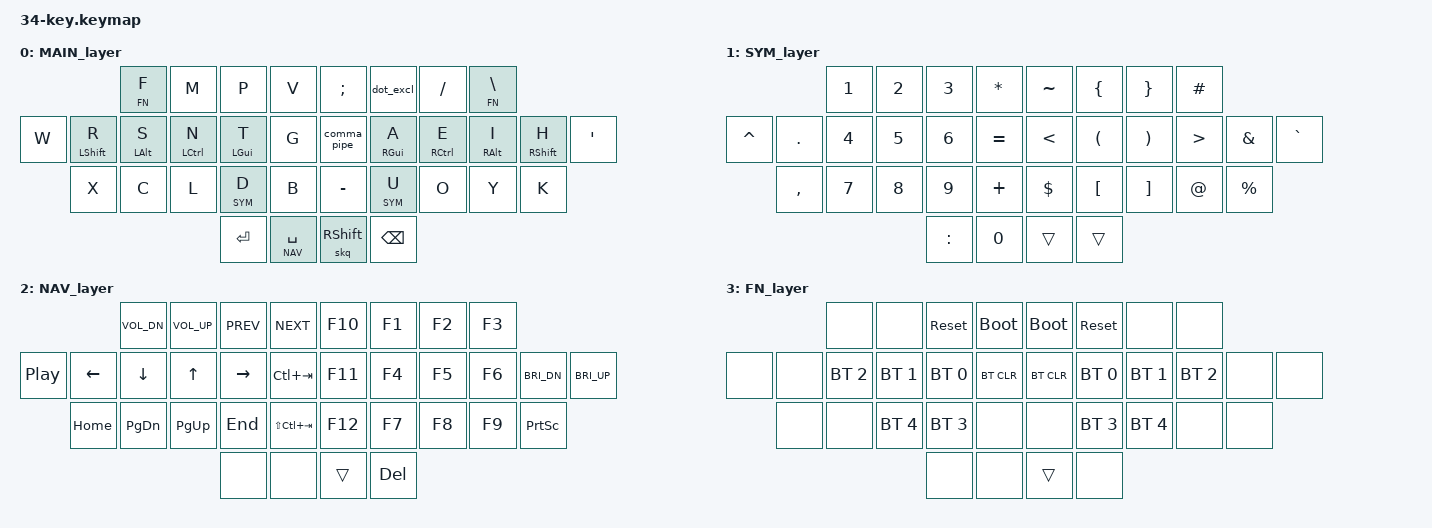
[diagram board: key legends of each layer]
#include <behaviors.dtsi>
#include <dt-bindings/zmk/keys.h>
#include <dt-bindings/zmk/bt.h>

#define MAIN 0
#define SYM 1
#define NAV 2
#define FN 3

// Keep these in sync with QMK's TAPPING_TERM and QUICK_TAP_TERM.
#define HT_TERM 200
#define HT_QUICK 150

// Balanced holds keep layer and mod chords fast; T=GUI is tap-preferred to
// prevent a fast T->H roll in "th"/"the" from holding Shift+GUI.
&mt {
    flavor = "balanced";
    tapping-term-ms = <HT_TERM>;
    quick-tap-ms = <HT_QUICK>;
};
&lt {
    flavor = "balanced";
    tapping-term-ms = <HT_TERM>;
    quick-tap-ms = <HT_QUICK>;
};

/ {
    behaviors {
        // T=GUI taps on a fast T->H roll in "th"/"the"; other mods stay balanced.
        t_gui: tap_gui {
            compatible = "zmk,behavior-hold-tap";
            label = "TAP_GUI";
            #binding-cells = <2>;
            flavor = "tap-preferred";
            tapping-term-ms = <HT_TERM>;
            quick-tap-ms = <HT_QUICK>;
            bindings = <&kp>, <&kp>;
        };

        dot_excl: dot_excl {
            compatible = "zmk,behavior-mod-morph";
            label = "DOT_EXCL";
            #binding-cells = <0>;
            bindings = <&kp DOT>, <&kp EXCL>;
            mods = <(MOD_LSFT|MOD_RSFT)>;
        };

        comma_pipe: comma_pipe {
            compatible = "zmk,behavior-mod-morph";
            label = "COMMA_PIPE";
            #binding-cells = <0>;
            bindings = <&kp COMMA>, <&kp PIPE>;
            mods = <(MOD_LSFT|MOD_RSFT)>;
        };

        skq: sticky_key_quick_release {
            compatible = "zmk,behavior-sticky-key";
            label = "STICKY_KEY_QUICK_RELEASE";
            #binding-cells = <1>;
            bindings = <&kp>;
            release-after-ms = <750>;
            quick-release;
        };
    };

    combos {
        compatible = "zmk,combos";

        combo_esc {
            timeout-ms = <15>;
            key-positions = <21 22>;
            bindings = <&kp ESC>;
            layers = <0>;
        };

        combo_tab {
            timeout-ms = <15>;
            key-positions = <22 23>;
            bindings = <&kp TAB>;
            layers = <0>;
        };

        combo_q {
            timeout-ms = <20>;
            key-positions = <1 2>;
            bindings = <&kp Q>;
            layers = <0>;
        };

        combo_z {
            timeout-ms = <20>;
            key-positions = <0 1>;
            bindings = <&kp Z>;
            layers = <0>;
        };

        combo_j {
            timeout-ms = <20>;
            key-positions = <1 3>;
            bindings = <&kp J>;
            layers = <0>;
        };

        combo_caps {
            timeout-ms = <20>;
            key-positions = <6 7>;
            bindings = <&kp CAPS>;
            layers = <0>;
        };
    };

    keymap {
        compatible = "zmk,keymap";

        MAIN_layer {
            bindings = <
                              &lt FN F   &kp M       &kp P      &kp V            &kp SEMI    &dot_excl  &kp FSLH    &lt FN BSLH
            &kp W &mt LSHFT R &mt LALT S &mt LCTRL N &t_gui LGUI T &kp G      &comma_pipe &mt RGUI A &mt RCTRL E &mt RALT I  &mt RSHFT H &kp SQT
                  &kp X       &kp C      &kp L       &lt SYM D  &kp B            &kp MINUS   &lt SYM U  &kp O       &kp Y       &kp K
                                                     &kp ENTER  &lt NAV SPC      &skq RSHFT  &kp BSPC
            >;
        };

        SYM_layer {
            bindings = <
                                &kp N1 &kp N2 &kp N3    &kp STAR       &kp TILDE &kp LBRC  &kp RBRC &kp HASH
            &kp CARET &kp DOT   &kp N4 &kp N5 &kp N6    &kp EQUAL      &kp LT    &kp LPAR  &kp RPAR &kp GT   &kp AMPS  &kp GRAVE
                      &kp COMMA &kp N7 &kp N8 &kp N9    &kp PLUS       &kp DLLR  &kp LBKT  &kp RBKT &kp AT   &kp PRCNT
                                              &kp COLON &kp N0         &trans    &trans
            >;
        };

        NAV_layer {
            bindings = <
                              &kp C_VOL_DN &kp C_VOL_UP &kp C_PREV &kp C_NEXT           &kp F10 &kp F1  &kp F2 &kp F3
            &kp C_PP &kp LEFT &kp DOWN     &kp UP       &kp RIGHT  &kp LC(TAB)          &kp F11 &kp F4  &kp F5 &kp F6 &kp C_BRI_DN &kp C_BRI_UP
                     &kp HOME &kp PG_DN    &kp PG_UP    &kp END    &kp LS(LC(TAB))      &kp F12 &kp F7  &kp F8 &kp F9 &kp PSCRN
                                                        &none      &none                &trans  &kp DEL
            >;
        };

        FN_layer {
            bindings = <
                        &none        &none        &sys_reset   &bootloader      &bootloader &sys_reset   &none        &none
            &none &none &bt BT_SEL 2 &bt BT_SEL 1 &bt BT_SEL 0 &bt BT_CLR       &bt BT_CLR  &bt BT_SEL 0 &bt BT_SEL 1 &bt BT_SEL 2 &none &none
                  &none &none        &bt BT_SEL 4 &bt BT_SEL 3 &none            &none       &bt BT_SEL 3 &bt BT_SEL 4 &none        &none
                                                  &none        &none            &trans      &none
            >;
        };
    };
};
